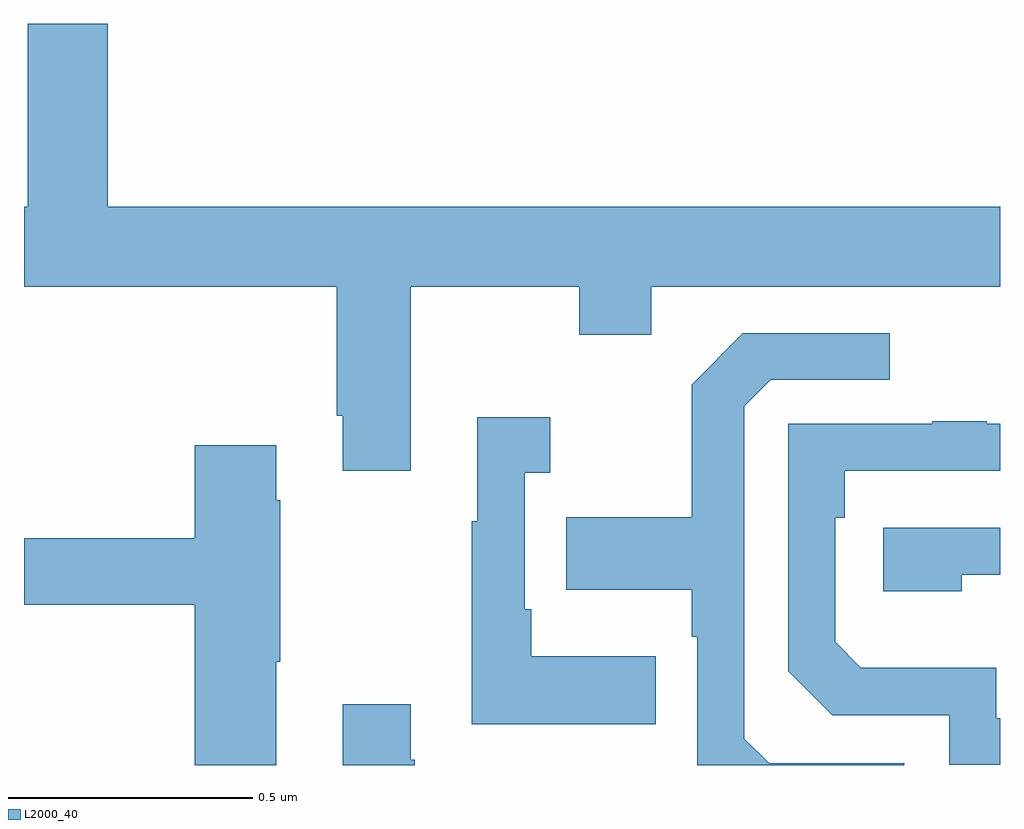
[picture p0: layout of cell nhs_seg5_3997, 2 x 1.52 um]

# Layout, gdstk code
import gdstk
lib = gdstk.Library(unit=1e-6, precision=1e-09)
def P(c, l, *ps):  # polygons
    for p in ps: c.add(gdstk.Polygon(p, *l))
L2000_40 = (2000, 40)

nhs_seg5_3997 = lib.new_cell('nhs_seg5_3997')
P(nhs_seg5_3997, L2000_40, [(165.793,836.78),(166.138,836.78),(166.138,836.681),(166.285,836.681),(166.285,836.78),(167,836.78),(167,836.944),(165.172,836.944),(165.172,837.319),(165.008,837.319),(165.008,836.944),(165,836.944),(165,836.78),(165.641,836.78),(165.641,836.515),(165.653,836.515),(165.653,836.403),(165.793,836.403)],
  [(166.804,835.803),(166.527,835.803),(166.476,835.854),(166.476,836.535),(166.53,836.589),(166.774,836.589),(166.774,836.685),(166.473,836.685),(166.368,836.579),(166.368,836.307),(166.111,836.307),(166.111,836.159),(166.368,836.159),(166.368,836.063),(166.38,836.063),(166.38,835.799),(166.804,835.799)],
  [(166.295,836.023),(166.039,836.023),(166.039,836.119),(166.026,836.119),(166.026,836.399),(166.078,836.399),(166.078,836.512),(165.929,836.512),(165.929,836.299),(165.918,836.299),(165.918,835.883),(166.295,835.883)],
  [(167,835.896),(166.992,835.896),(166.992,835.999),(166.715,835.999),(166.662,836.052),(166.662,836.306),(166.682,836.306),(166.682,836.403),(167,836.403),(167,836.499),(166.973,836.499),(166.973,836.504),(166.861,836.504),(166.861,836.499),(166.566,836.499),(166.566,835.992),(166.656,835.902),(166.896,835.902),(166.896,835.8),(167,835.8)],
  [(165.517,836.011),(165.525,836.011),(165.525,836.342),(165.517,836.342),(165.517,836.455),(165.35,836.455),(165.35,836.264),(165,836.264),(165,836.128),(165.35,836.128),(165.35,835.799),(165.517,835.799)],
  [(166.922,836.19),(167,836.19),(167,836.286),(166.761,836.286),(166.761,836.156),(166.922,836.156)],
  [(165.801,835.811),(165.793,835.811),(165.793,835.924),(165.653,835.924),(165.653,835.799),(165.801,835.799)])

lib.write_gds('nhs_seg5_3997.gds')
